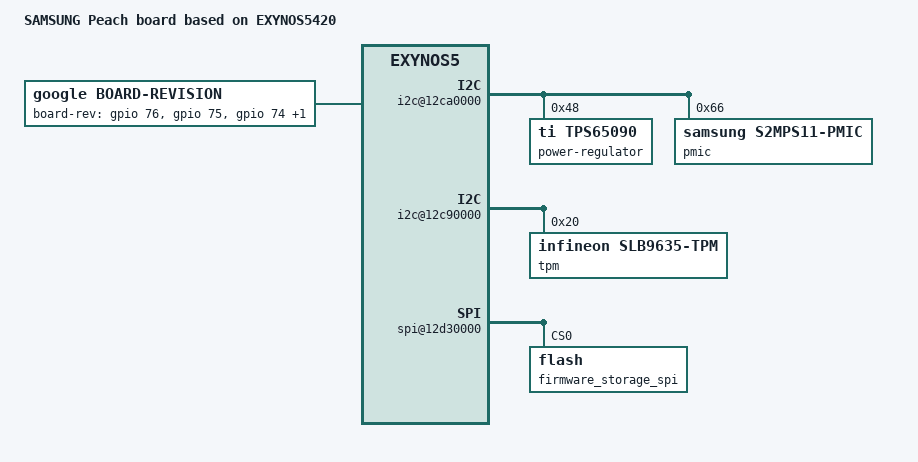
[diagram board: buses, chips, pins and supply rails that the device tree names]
/*
 * SAMSUNG Peach ADV board device tree source
 *
 * Copyright (c) 2013 The Chromium OS Authors. All rights reserved.
 * Use of this source code is governed by a BSD-style license that can be
 * found in the LICENSE file.
 */

/dts-v1/;
/include/ "exynos54xx.dtsi"
#ifdef CONFIG_CHROMEOS
/include/ "flashmap-exynos-ro.dtsi"
/include/ "flashmap-4mb-rw.dtsi"
/include/ "chromeos-exynos.dtsi"
#endif
/ {
	model = "SAMSUNG Peach board based on EXYNOS5420";
	compatible = "samsung,peach-pit-adv", "samsung,exynos5";

	config {
		hwid = "peach TEST A-A 9382";
	};
	/* override SPL size to match BL1 expectations */
	flash@0 {
		spl {
			size = <0x4000>;
		};
	};

	board-rev {
		compatible = "google,board-revision";
		google,board-rev-gpios = <&gpio 76 0>,
					 <&gpio 75 0>,
					 <&gpio 74 0>,
					 <&gpio 73 0>;
	};

	i2c@12ca0000 {
		#address-cells = <1>;
		#size-cells = <0>;
		power-regulator@48 {
			compatible = "ti,tps65090";
			reg = <0x48>;
		};

		pmic@66 {
			compatible = "samsung,s2mps11-pmic";
			reg = <0x66>;
		};
	};

	i2c@12c90000 {
		#address-cells = <1>;
		#size-cells = <0>;
		tpm@20 {
			compatible = "infineon,slb9635-tpm";
			reg = <0x20>;
		};
	};

	spi@12d30000 { /* spi1 */
		spi-max-frequency = <50000000>;
		firmware_storage_spi: flash@0 {
			reg = <0>;
		};
	};

	fimd@14400000 {
		samsung,vl-freq = <60>;
		samsung,vl-col = <1366>;
		samsung,vl-row = <768>;
		samsung,vl-width = <1366>;
		samsung,vl-height = <768>;

		samsung,vl-clkp;
		samsung,vl-dp;
		samsung,vl-bpix = <4>;

		samsung,vl-hspw = <32>;
		samsung,vl-hbpd = <40>;
		samsung,vl-hfpd = <40>;
		samsung,vl-vspw = <6>;
		samsung,vl-vbpd = <10>;
		samsung,vl-vfpd = <12>;
		samsung,vl-cmd-allow-len = <0xf>;

		samsung,winid = <3>;
		samsung,interface-mode = <1>;
		samsung,dp-enabled = <1>;
		samsung,dual-lcd-enabled = <0>;
	};

	dmc {
		mem-type = "lpddr3";
	};
};
